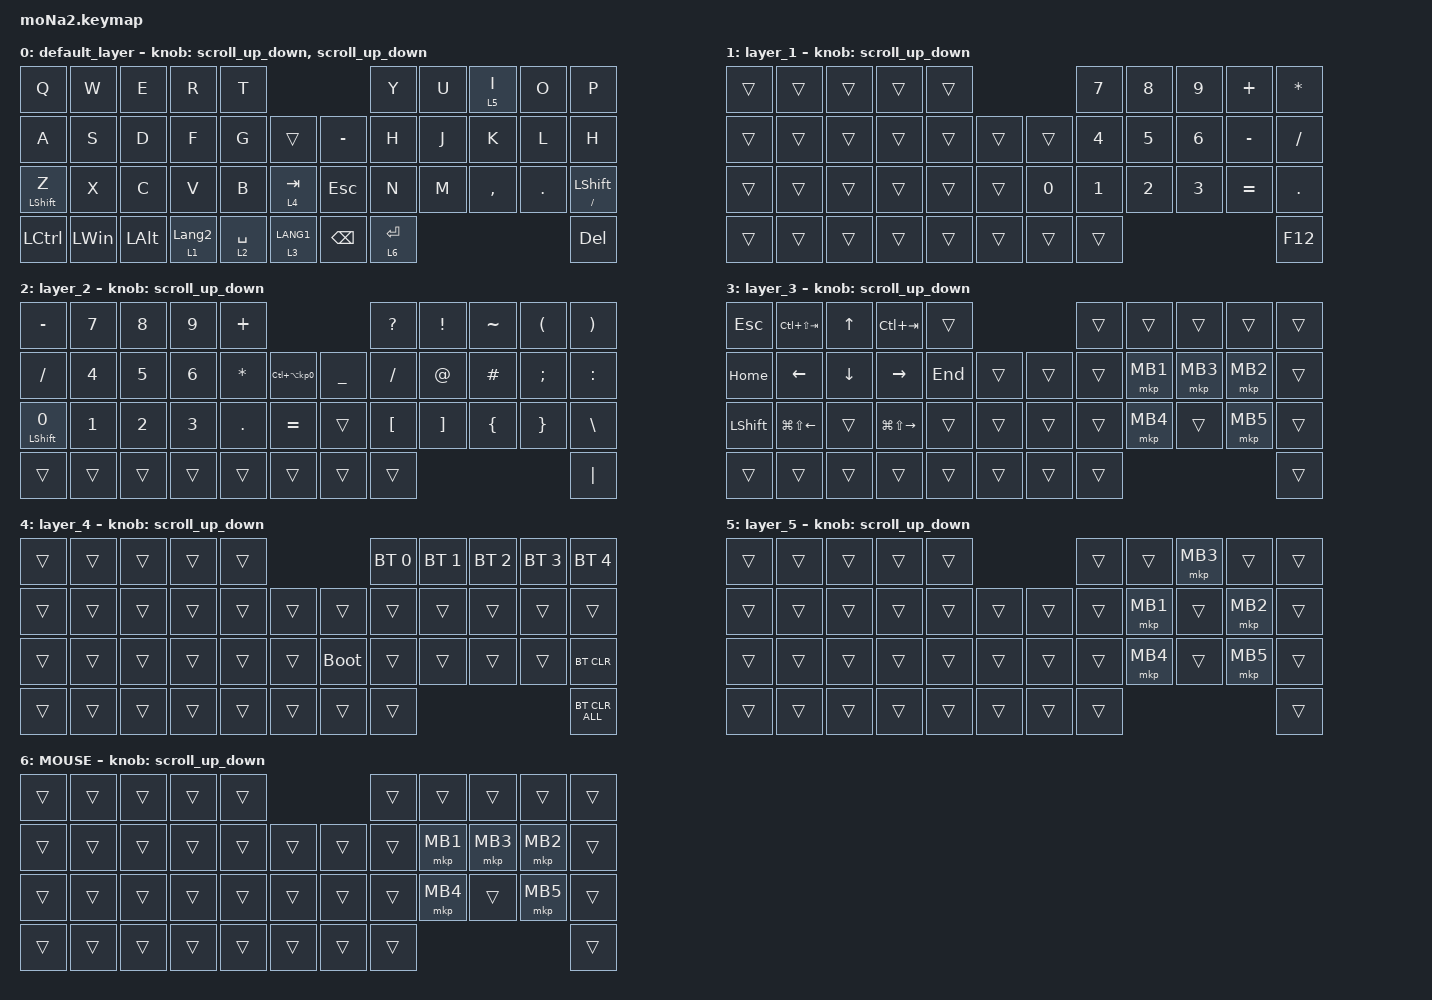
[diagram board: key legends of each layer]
#include <behaviors.dtsi>
#include <dt-bindings/zmk/bt.h>
#include <dt-bindings/zmk/keys.h>
#include <dt-bindings/zmk/pointing.h>

#define ZMK_POINTING_DEFAULT_SCRL_VAL 100
#define MOUSE 6

&mt {
    flavor = "balanced";
    quick-tap-ms = <0>;
};

/ {
    combos { compatible = "zmk,combos"; };

    macros {
        to_layer_0: to_layer_0 {
            compatible = "zmk,behavior-macro-one-param";
            #binding-cells = <1>;
            bindings = <&to 0 &macro_param_1to1 &kp MACRO_PLACEHOLDER>;
            label = "TO_LAYER_0";
        };
    };

    behaviors {
        lt_to_layer_0: lt_to_layer_0 {
            compatible = "zmk,behavior-hold-tap";
            label = "LAYER_TAP_TO_0";
            bindings = <&mo>, <&to_layer_0>;

            #binding-cells = <2>;
            tapping-term-ms = <200>;
        };

        scroll_up_down: behavior_sensor_rotate_mouse_wheel_up_down {
            compatible = "zmk,behavior-sensor-rotate";
            #sensor-binding-cells = <0>;
            bindings = <&msc SCRL_UP>, <&msc SCRL_DOWN>;

            tap-ms = <20>;
        };
    };

    keymap {
        compatible = "zmk,keymap";

        default_layer {
            bindings = <
&kp Q             &kp W         &kp E         &kp R             &kp T                                      &kp Y        &kp U  &lt 5 I    &kp O       &kp P
&kp A             &kp S         &kp D         &kp F             &kp G        &trans         &kp MINUS      &kp H        &kp J  &kp K      &kp L       &kp H
&mt LEFT_SHIFT Z  &kp X         &kp C         &kp V             &kp B        &lt 4 TAB      &kp ESCAPE     &kp N        &kp M  &kp COMMA  &kp PERIOD  &mt SLASH LEFT_SHIFT
&kp LCTRL         &kp LEFT_WIN  &kp LEFT_ALT  &lt 1 LANGUAGE_2  &lt 2 SPACE  &lt 3 LANG1    &kp BACKSPACE  &lt 6 ENTER                                &kp DEL
            >;

            sensor-bindings = <&scroll_up_down>, <&scroll_up_down>;
        };

        layer_1 {
            bindings = <
&trans  &trans  &trans  &trans  &trans                    &kp N7        &kp N8        &kp N9        &kp PLUS   &kp ASTRK
&trans  &trans  &trans  &trans  &trans  &trans    &trans  &kp NUMBER_4  &kp N5        &kp NUMBER_6  &kp MINUS  &kp SLASH
&trans  &trans  &trans  &trans  &trans  &trans    &kp N0  &kp NUMBER_1  &kp NUMBER_2  &kp NUMBER_3  &kp EQUAL  &kp PERIOD
&trans  &trans  &trans  &trans  &trans  &trans    &trans  &trans                                               &kp F12
            >;

            sensor-bindings = <&scroll_up_down>;
        };

        layer_2 {
            bindings = <
&kp MINUS          &kp N7        &kp N8        &kp N9        &kp PLUS                                                 &kp QUESTION      &kp EXCLAMATION    &kp TILDE       &kp LEFT_PARENTHESIS  &kp RIGHT_PARENTHESIS
&kp SLASH          &kp NUMBER_4  &kp N5        &kp NUMBER_6  &kp ASTERISK  &kp LC(LA(KP_NUMBER_0))    &kp UNDERSCORE  &kp SLASH         &kp AT_SIGN        &kp HASH        &kp SEMICOLON         &kp COLON
&mt LEFT_SHIFT N0  &kp NUMBER_1  &kp NUMBER_2  &kp NUMBER_3  &kp PERIOD    &kp EQUAL                  &trans          &kp LEFT_BRACKET  &kp RIGHT_BRACKET  &kp LEFT_BRACE  &kp RIGHT_BRACE       &kp BACKSLASH
&trans             &trans        &trans        &trans        &trans        &trans                     &trans          &trans                                                                     &kp PIPE
            >;

            sensor-bindings = <&scroll_up_down>;
        };

        layer_3 {
            bindings = <
&kp ESCAPE      &kp LC(LS(TAB))         &kp UP_ARROW    &kp LC(TAB)              &trans                     &trans  &trans    &trans    &trans    &trans
&kp HOME        &kp LEFT_ARROW          &kp DOWN_ARROW  &kp RIGHT_ARROW          &kp END  &trans    &trans  &trans  &mkp MB1  &mkp MB3  &mkp MB2  &trans
&kp LEFT_SHIFT  &kp LG(LS(LEFT_ARROW))  &trans          &kp LG(LS(RIGHT_ARROW))  &trans   &trans    &trans  &trans  &mkp MB4  &trans    &mkp MB5  &trans
&trans          &trans                  &trans          &trans                   &trans   &trans    &trans  &trans                                &trans
            >;

            sensor-bindings = <&scroll_up_down>;
        };

        layer_4 {
            bindings = <
&trans  &trans  &trans  &trans  &trans                         &bt BT_SEL 0  &bt BT_SEL 1  &bt BT_SEL 2  &bt BT_SEL 3  &bt BT_SEL 4
&trans  &trans  &trans  &trans  &trans  &trans    &trans       &trans        &trans        &trans        &trans        &trans
&trans  &trans  &trans  &trans  &trans  &trans    &bootloader  &trans        &trans        &trans        &trans        &bt BT_CLR
&trans  &trans  &trans  &trans  &trans  &trans    &trans       &trans                                                  &bt BT_CLR_ALL
            >;

            sensor-bindings = <&scroll_up_down>;
        };

        layer_5 {
            bindings = <
&trans  &trans  &trans  &trans  &trans                    &trans  &trans    &mkp MB3  &trans    &trans
&trans  &trans  &trans  &trans  &trans  &trans    &trans  &trans  &mkp MB1  &trans    &mkp MB2  &trans
&trans  &trans  &trans  &trans  &trans  &trans    &trans  &trans  &mkp MB4  &trans    &mkp MB5  &trans
&trans  &trans  &trans  &trans  &trans  &trans    &trans  &trans                                &trans
            >;

            sensor-bindings = <&scroll_up_down>;
        };

        MOUSE {
            bindings = <
&trans  &trans  &trans  &trans  &trans                    &trans  &trans    &trans    &trans    &trans
&trans  &trans  &trans  &trans  &trans  &trans    &trans  &trans  &mkp MB1  &mkp MB3  &mkp MB2  &trans
&trans  &trans  &trans  &trans  &trans  &trans    &trans  &trans  &mkp MB4  &trans    &mkp MB5  &trans
&trans  &trans  &trans  &trans  &trans  &trans    &trans  &trans                                &trans
            >;

            sensor-bindings = <&scroll_up_down>;
        };
    };
};
